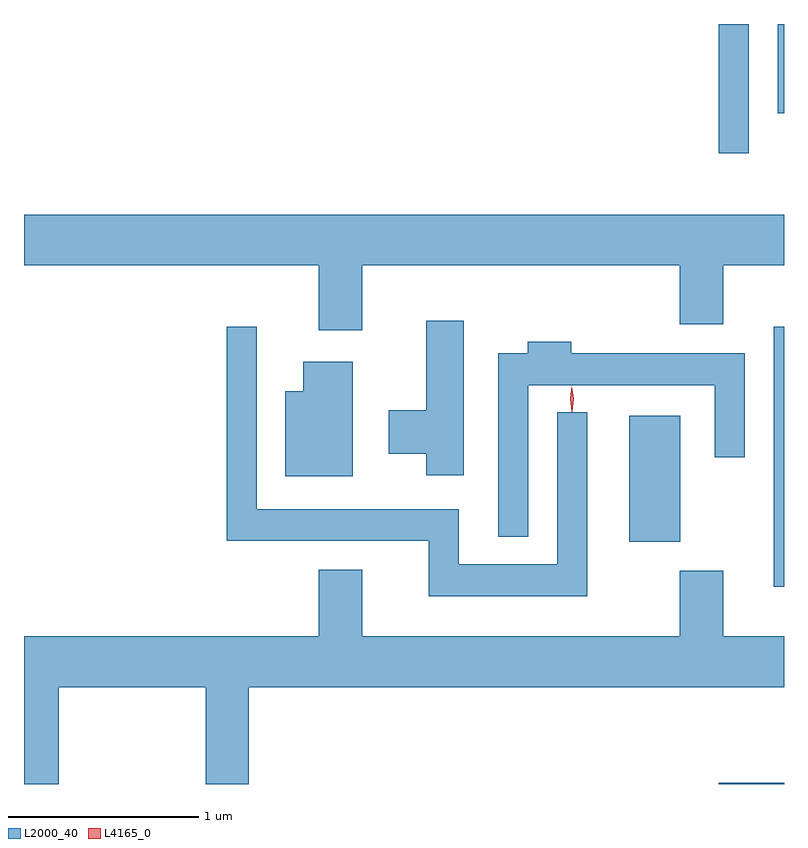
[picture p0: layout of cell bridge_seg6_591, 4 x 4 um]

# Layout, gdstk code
import gdstk
lib = gdstk.Library(unit=1e-6, precision=1e-09)
def R(c, l, rs):  # rectangles x0, y0, x1, y1
    for r in rs: c.add(gdstk.rectangle(r[:2], r[2:], *l))
def P(c, l, *ps):  # polygons
    for p in ps: c.add(gdstk.Polygon(p, *l))
L2000_40 = (2000, 40)
L4165_0 = (4165, 0)

bridge_seg6_591 = lib.new_cell('bridge_seg6_591')
R(bridge_seg6_591, L2000_40, [(542.806,1607.247,543.15,1607.254), (543.096,1608.286,543.15,1609.653), (542.336,1608.521,542.604,1609.184), (542.806,1610.568,542.964,1611.247), (543.116,1610.776,543.15,1611.247)])
P(bridge_seg6_591, L2000_40, [(540.929,1609.976),(542.601,1609.976),(542.601,1609.666),(542.829,1609.666),(542.829,1609.976),(543.15,1609.976),(543.15,1610.244),(539.15,1610.244),(539.15,1609.976),(540.701,1609.976),(540.701,1609.636),(540.929,1609.636)],
  [(541.464,1609.684),(541.266,1609.684),(541.266,1609.214),(541.071,1609.214),(541.071,1608.986),(541.266,1608.986),(541.266,1608.871),(541.464,1608.871)],
  [(542.114,1609.203),(541.956,1609.203),(541.956,1608.404),(541.439,1608.404),(541.439,1608.694),(540.374,1608.694),(540.374,1609.653),(540.216,1609.653),(540.216,1608.526),(541.281,1608.526),(541.281,1608.236),(542.114,1608.236)],
  [(541.804,1609.346),(542.786,1609.346),(542.786,1608.968),(542.944,1608.968),(542.944,1609.514),(542.029,1609.514),(542.029,1609.574),(541.801,1609.574),(541.801,1609.514),(541.646,1609.514),(541.646,1608.548),(541.804,1608.548)],
  [(540.879,1609.469),(540.621,1609.469),(540.621,1609.314),(540.526,1609.314),(540.526,1608.866),(540.879,1608.866)],
  [(539.334,1607.756),(540.106,1607.756),(540.106,1607.247),(540.334,1607.247),(540.334,1607.756),(543.15,1607.756),(543.15,1608.024),(542.829,1608.024),(542.829,1608.369),(542.601,1608.369),(542.601,1608.024),(540.929,1608.024),(540.929,1608.374),(540.701,1608.374),(540.701,1608.024),(539.15,1608.024),(539.15,1607.247),(539.334,1607.247)])
P(bridge_seg6_591, L4165_0, [(542.034,1609.207),(542.034,1609.207),(542.024,1609.274),(542.034,1609.34),(542.034,1609.34),(542.034,1609.34),(542.044,1609.274),(542.035,1609.207)])

lib.write_gds('bridge_seg6_591.gds')
